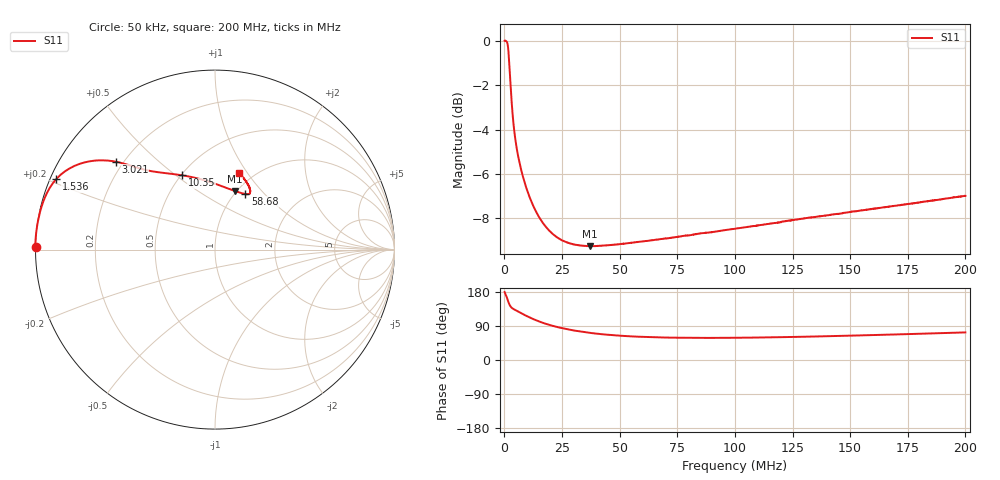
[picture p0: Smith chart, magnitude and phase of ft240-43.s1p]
# HZ S RI R 50
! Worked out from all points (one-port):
!   2020 points, 50 kHz to 200 MHz, reference 50 ohm
!   lowest |S11| = -9.2 dB at 37.09 MHz (marker M1), VSWR 2.05, Z = 48.9 + j36.3 ohm
!   |S11| at or under -10 dB: nowhere
!   S11 on the Smith chart (normalised r, x): 50 kHz: -0.00, +0.01; 1.536 MHz: 0.02, +0.21; 3.021 MHz: 0.17, +0.37; 10.35 MHz: 0.51, +0.53; 58.68 MHz: 1.11, +0.79; 200 MHz: 0.85, +0.91
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50000  -1 0.0124
446136  -0.9941 0.1107
842272  -0.9746 0.2108
1139374  -0.9481 0.2893
1535510  -0.8832 0.3941
1931646  -0.7828 0.4663
2228748  -0.7067 0.4903
2624884  -0.6202 0.4972
3021020  -0.553 0.4898
3516190  -0.4919 0.4747
4011360  -0.4473 0.4608
5298802  -0.3674 0.4393
7576584  -0.2705 0.4254
1.034954e7  -0.1831 0.4138
1.332056e7  -0.1133 0.4003
1.678675e7  -0.0527 0.3846
2.055004e7  -0.00439 0.3688
2.51056e7  0.0382 0.353
3.055247e7  0.0758 0.3394
3.708872e7  0.1088 0.3273
5.006217e7  0.152 0.3137
5.867813e7  0.1692 0.3096
7.511777e7  0.1882 0.309
1.000743e8  0.1961 0.3224
1.250309e8  0.1925 0.3445
1.500865e8  0.1787 0.3709
1.750431e8  0.1582 0.3989
1.999996e8  0.1321 0.4275
